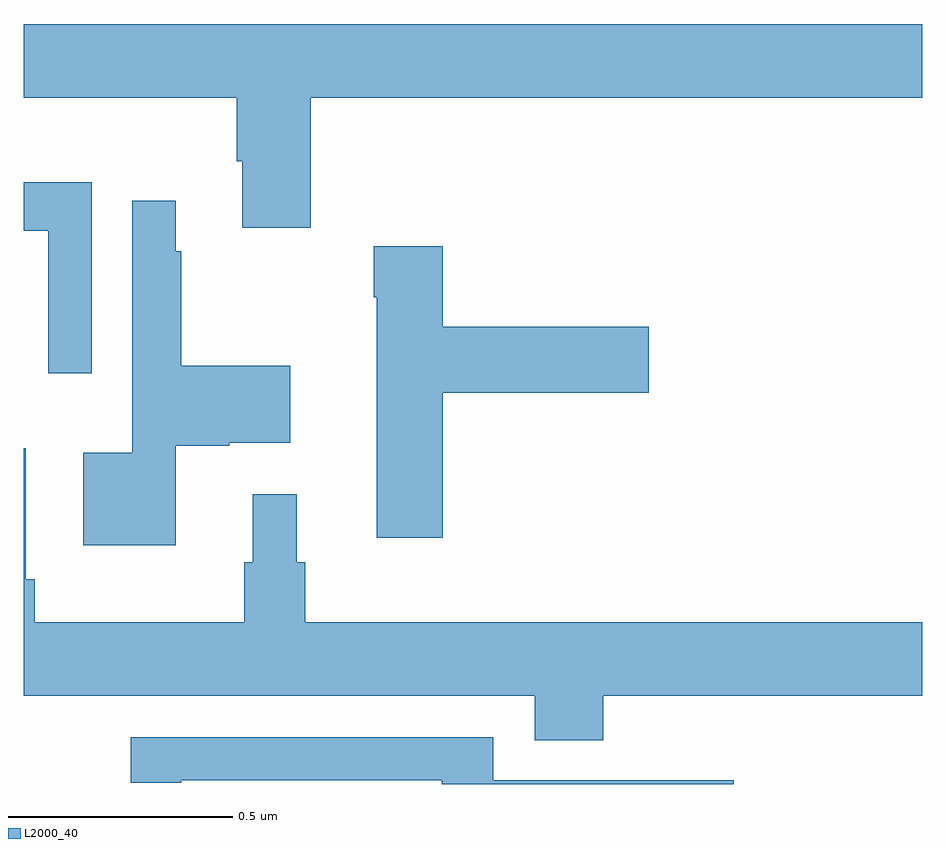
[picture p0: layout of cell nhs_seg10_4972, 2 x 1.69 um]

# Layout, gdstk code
import gdstk
lib = gdstk.Library(unit=1e-6, precision=1e-09)
def P(c, l, *ps):  # polygons
    for p in ps: c.add(gdstk.Polygon(p, *l))
L2000_40 = (2000, 40)

nhs_seg10_4972 = lib.new_cell('nhs_seg10_4972')
P(nhs_seg10_4972, L2000_40, [(173.639,1255.028),(175,1255.028),(175,1255.192),(173,1255.192),(173,1255.028),(173.474,1255.028),(173.474,1254.886),(173.486,1254.886),(173.486,1254.738),(173.639,1254.738)],
  [(173.151,1254.84),(173,1254.84),(173,1254.732),(173.054,1254.732),(173.054,1254.414),(173.151,1254.414)],
  [(173.338,1254.253),(173.457,1254.253),(173.457,1254.26),(173.593,1254.26),(173.593,1254.431),(173.35,1254.431),(173.35,1254.686),(173.338,1254.686),(173.338,1254.799),(173.241,1254.799),(173.241,1254.238),(173.132,1254.238),(173.132,1254.032),(173.338,1254.032)],
  [(173.933,1254.371),(174.391,1254.371),(174.391,1254.518),(173.933,1254.518),(173.933,1254.697),(173.779,1254.697),(173.779,1254.584),(173.786,1254.584),(173.786,1254.048),(173.933,1254.048)],
  [(174.29,1253.696),(175,1253.696),(175,1253.86),(173.627,1253.86),(173.627,1253.994),(173.608,1253.994),(173.608,1254.145),(173.51,1254.145),(173.51,1253.994),(173.491,1253.994),(173.491,1253.86),(173.024,1253.86),(173.024,1253.956),(173.004,1253.956),(173.004,1254.247),(173,1254.247),(173,1253.696),(174.137,1253.696),(174.137,1253.597),(174.29,1253.597)],
  [(174.58,1253.508),(174.045,1253.508),(174.045,1253.604),(173.238,1253.604),(173.238,1253.503),(173.35,1253.503),(173.35,1253.508),(173.93,1253.508),(173.93,1253.5),(174.58,1253.5)])

lib.write_gds('nhs_seg10_4972.gds')
